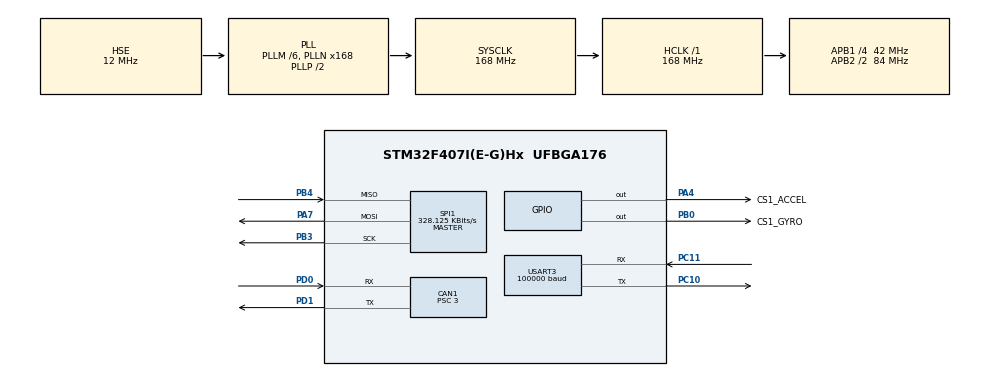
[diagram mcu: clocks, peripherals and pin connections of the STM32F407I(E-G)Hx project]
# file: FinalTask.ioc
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CAN1.BS1=CAN_BS1_11TQ
CAN1.BS2=CAN_BS2_2TQ
CAN1.CalculateBaudRate=1000000
CAN1.CalculateTimeBit=1000
CAN1.CalculateTimeQuantum=71.42857142857143
CAN1.Prescaler=3
Dma.Request0=USART3_RX
Dma.USART3_RX.0.Direction=DMA_PERIPH_TO_MEMORY
Dma.USART3_RX.0.FIFOMode=DMA_FIFOMODE_DISABLE
Dma.USART3_RX.0.Instance=DMA1_Stream1
Dma.USART3_RX.0.MemDataAlignment=DMA_MDATAALIGN_BYTE
Dma.USART3_RX.0.MemInc=DMA_MINC_ENABLE
Dma.USART3_RX.0.Mode=DMA_NORMAL
Dma.USART3_RX.0.PeriphDataAlignment=DMA_PDATAALIGN_BYTE
Dma.USART3_RX.0.PeriphInc=DMA_PINC_DISABLE
Dma.USART3_RX.0.Priority=DMA_PRIORITY_LOW
FREERTOS.Tasks01=defaultTask,24,128,StartDefaultTask,Default,NULL,Dynamic,NULL,NULL
FREERTOS.configENABLE_FPU=1
IWDG.Prescaler=IWDG_PRESCALER_16
IWDG.Reload=3000-1
Mcu.Family=STM32F4
Mcu.Name=STM32F407I(E-G)Hx
Mcu.Package=UFBGA176
NVIC.CAN1_RX0_IRQn=true\:5\:0\:false\:false\:true\:true\:true\:true\:true
NVIC.CAN1_RX1_IRQn=true\:5\:0\:false\:false\:true\:true\:true\:true\:true
NVIC.CAN1_TX_IRQn=true\:5\:0\:false\:false\:true\:true\:true\:true\:true
NVIC.DMA1_Stream1_IRQn=true\:5\:0\:false\:false\:true\:true\:false\:true\:true
NVIC.PriorityGroup=NVIC_PRIORITYGROUP_4
NVIC.RCC_IRQn=true\:5\:0\:false\:false\:true\:true\:true\:false\:true
NVIC.SPI1_IRQn=true\:5\:0\:false\:false\:true\:true\:true\:true\:true
NVIC.TIM6_DAC_IRQn=true\:15\:0\:false\:false\:true\:false\:false\:true\:true
NVIC.TIM7_IRQn=true\:5\:0\:false\:false\:true\:true\:true\:true\:true
NVIC.TimeBase=TIM6_DAC_IRQn
NVIC.TimeBaseIP=TIM6
NVIC.USART3_IRQn=true\:5\:0\:false\:false\:true\:true\:true\:true\:true
PA13.Mode=Serial_Wire
PA13.Signal=SYS_JTMS-SWDIO
PA14.Mode=Serial_Wire
PA14.Signal=SYS_JTCK-SWCLK
PA4.GPIO_Label=CS1_ACCEL
PA4.GPIO_PuPd=GPIO_PULLUP
PA4.GPIO_Speed=GPIO_SPEED_FREQ_HIGH
PA4.PinState=GPIO_PIN_SET
PA4.Signal=GPIO_Output
PA7.Mode=Full_Duplex_Master
PA7.Signal=SPI1_MOSI
PB0.GPIO_Label=CS1_GYRO
PB0.GPIO_ModeDefaultOutputPP=GPIO_MODE_OUTPUT_PP
PB0.GPIO_PuPd=GPIO_PULLUP
PB0.GPIO_Speed=GPIO_SPEED_FREQ_HIGH
PB0.PinState=GPIO_PIN_SET
PB0.Signal=GPIO_Output
PB3.Mode=Full_Duplex_Master
PB3.Signal=SPI1_SCK
PB4.Mode=Full_Duplex_Master
PB4.Signal=SPI1_MISO
PC10.Mode=Asynchronous
PC10.Signal=USART3_TX
PC11.Mode=Asynchronous
PC11.Signal=USART3_RX
PD0.Mode=CAN_Activate
PD0.Signal=CAN1_RX
PD1.Mode=CAN_Activate
PD1.Signal=CAN1_TX
PH0-OSC_IN.Mode=HSE-External-Oscillator
PH0-OSC_IN.Signal=RCC_OSC_IN
PH1-OSC_OUT.Mode=HSE-External-Oscillator
PH1-OSC_OUT.Signal=RCC_OSC_OUT
ProjectManager.HeapSize=0x200
ProjectManager.StackSize=0x400
ProjectManager.TargetToolchain=CMake
RCC.48MHZClocksFreq_Value=84000000
RCC.AHBFreq_Value=168000000
RCC.APB1CLKDivider=RCC_HCLK_DIV4
RCC.APB1Freq_Value=42000000
RCC.APB1TimFreq_Value=84000000
RCC.APB2CLKDivider=RCC_HCLK_DIV2
RCC.APB2Freq_Value=84000000
RCC.APB2TimFreq_Value=168000000
RCC.CortexFreq_Value=168000000
RCC.HCLKFreq_Value=168000000
RCC.HSE_VALUE=12000000
RCC.HSI_VALUE=16000000
RCC.LSE_VALUE=32768
RCC.PLLM=6
RCC.PLLN=168
RCC.PLLSourceVirtual=RCC_PLLSOURCE_HSE
RCC.SYSCLKFreq_VALUE=168000000
RCC.SYSCLKSource=RCC_SYSCLKSOURCE_PLLCLK
RCC.VCOOutputFreq_Value=336000000
SPI1.BaudRatePrescaler=SPI_BAUDRATEPRESCALER_256
SPI1.CLKPhase=SPI_PHASE_2EDGE
SPI1.CLKPolarity=SPI_POLARITY_HIGH
SPI1.CalculateBaudRate=328.125 KBits/s
SPI1.Direction=SPI_DIRECTION_2LINES
SPI1.Mode=SPI_MODE_MASTER
SPI1.VirtualType=VM_MASTER
TIM7.Period=1000-1
TIM7.Prescaler=168-1
USART3.BaudRate=100000
USART3.Parity=PARITY_EVEN
USART3.VirtualMode=VM_ASYNC
USART3.WordLength=WORDLENGTH_9B
VP_FREERTOS_VS_CMSIS_V2.Mode=CMSIS_V2
VP_IWDG_VS_IWDG.Mode=IWDG_Activate
VP_SYS_VS_tim6.Mode=TIM6
VP_TIM7_VS_ClockSourceINT.Mode=Enable_Timer
board=custom

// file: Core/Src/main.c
/* USER CODE BEGIN Header */
/**
  ******************************************************************************
  * @file           : main.c
  * @brief          : Main program body
  ******************************************************************************
  * @attention
  *
  * Copyright (c) 2025 STMicroelectronics.
  * All rights reserved.
  *
  * This software is licensed under terms that can be found in the LICENSE file
  * in the root directory of this software component.
  * If no LICENSE file comes with this software, it is provided AS-IS.
  *
  ******************************************************************************
  */
/* USER CODE END Header */
#include "main.h"
#include "cmsis_os.h"
#include "can.h"
#include "dma.h"
#include "iwdg.h"
#include "spi.h"
#include "tim.h"
#include "usart.h"
#include "gpio.h"

/* USER CODE BEGIN Includes */
// TODO: Delete unnecessary includes
#include "rtos.h"
#include "imu.h"
#include "rc.h"
/* USER CODE END Includes */

/* USER CODE BEGIN PV */
osThreadId_t control_task_handle;
osThreadId_t imu_task_handle;
osThreadId_t can_send_task_handle;
osThreadId_t can_recv_task_handle;
osThreadId_t iwdg_task_handle;
osThreadId_t rc_process_task_handle;

osThreadId_t can_rx_queue_handle;

osSemaphoreId_t rc_data_ready_semaphore_handle;
osSemaphoreId_t imu_data_ready_semaphore_handle;

osMutexId_t gimbal_mutex_handle;

// TODO: FIX the CAN filter configuration as needed
CAN_FilterTypeDef filter_config = {
    .FilterIdHigh = 0x0000,
    .FilterIdLow = 0x0000,
    .FilterMaskIdHigh = 0x0000,
    .FilterMaskIdLow = 0x0000,
    .FilterFIFOAssignment = CAN_FILTER_FIFO0,
    .FilterBank = 0,
    .FilterMode = CAN_FILTERMODE_IDMASK,
    .FilterScale = CAN_FILTERSCALE_32BIT,
    .FilterActivation = ENABLE
};
/* USER CODE END PV */

void SystemClock_Config(void);
void MX_FREERTOS_Init(void);

int main(void)
{

    /* MCU Configuration--------------------------------------------------------*/

    /* Reset of all peripherals, Initializes the Flash interface and the Systick. */
    HAL_Init();

    /* Configure the system clock */
    SystemClock_Config();

    /* Initialize all configured peripherals */
    MX_GPIO_Init();
    MX_DMA_Init();
    MX_SPI1_Init();
    MX_CAN1_Init();
    MX_TIM7_Init();
    MX_USART3_UART_Init();
    // MX_IWDG_Init();
    /* USER CODE BEGIN 2 */
    HAL_TIM_Base_Start_IT(&htim7);

    HAL_CAN_ConfigFilter(&hcan1, &filter_config);
    HAL_CAN_Start(&hcan1);
    HAL_CAN_ActivateNotification(&hcan1, CAN_IT_RX_FIFO0_MSG_PENDING);

    ImuInitWrapper();
    RcInitWrapper();

    /* USER CODE END 2 */

    /* Init scheduler */
    osKernelInitialize(); /* Call init function for freertos objects (in cmsis_os2.c) */
    MX_FREERTOS_Init();

    const osMutexAttr_t gimbal_mutex_attributes = {
        .name = "GimbalMutex"
    };
    gimbal_mutex_handle = osMutexNew(&gimbal_mutex_attributes);

    const osSemaphoreAttr_t rc_sem_attributes = {
        .name = "rcSem"
    };
    rc_data_ready_semaphore_handle = osSemaphoreNew(1, 0, &rc_sem_attributes);

    const osMessageQueueAttr_t can_rx_queue_attributes = {
        .name = "canRxQueue"
    };
    can_rx_queue_handle = osMessageQueueNew(16,
                                            sizeof(uint8_t[sizeof(CAN_RxHeaderTypeDef) + 8]),
                                            &can_rx_queue_attributes);

    const osThreadAttr_t imu_task_attributes = {
        .name = "imuTask",
        .stack_size = 1024 * 4,
        .priority = osPriorityHigh
    };
    imu_task_handle = osThreadNew(VImuTask, NULL, &imu_task_attributes);

    const osThreadAttr_t control_task_attributes = {
        .name = "controlTask",
        .stack_size = 1024 * 4,
        .priority = osPriorityAboveNormal
    };
    control_task_handle = osThreadNew(VControlTask, NULL, &control_task_attributes);

    const osThreadAttr_t can_send_task_attributes = {
        .name = "canSendTask",
        .stack_size = 512,
        .priority = osPriorityNormal
    };
    can_send_task_handle = osThreadNew(VCanSendTask, NULL, &can_send_task_attributes);

    const osThreadAttr_t can_recv_task_attributes = {
        .name = "canRecvTask",
        .stack_size = 512,
        .priority = osPriorityNormal
    };
    can_recv_task_handle = osThreadNew(VCanRecvTask, NULL, &can_recv_task_attributes);

    const osThreadAttr_t rc_process_task_attributes = {
        .name = "rcProcessTask",
        .stack_size = 1024 * 4,
        .priority = osPriorityNormal
    };
    rc_process_task_handle = osThreadNew(VRcProcessTask, NULL, &rc_process_task_attributes);

    const osThreadAttr_t iwdg_task_attributes = {
        .name = "iwdgTask",
        .stack_size = 1024,
        .priority = osPriorityLow
    };
    iwdg_task_handle = osThreadNew(VIwdgTask, NULL, &iwdg_task_attributes);
    /* Start scheduler */
    osKernelStart();

    /* We should never get here as control is now taken by the scheduler */

    /* Infinite loop */
    while (1)
    {

    }
}

void SystemClock_Config(void)
{
    RCC_OscInitTypeDef RCC_OscInitStruct = { 0 };
    RCC_ClkInitTypeDef RCC_ClkInitStruct = { 0 };

    /** Configure the main internal regulator output voltage
    */
    __HAL_RCC_PWR_CLK_ENABLE();
    __HAL_PWR_VOLTAGESCALING_CONFIG(PWR_REGULATOR_VOLTAGE_SCALE1);

    /** Initializes the RCC Oscillators according to the specified parameters
    * in the RCC_OscInitTypeDef structure.
    */
    RCC_OscInitStruct.OscillatorType = RCC_OSCILLATORTYPE_LSI | RCC_OSCILLATORTYPE_HSE;
    RCC_OscInitStruct.HSEState = RCC_HSE_ON;
    RCC_OscInitStruct.LSIState = RCC_LSI_ON;
    RCC_OscInitStruct.PLL.PLLState = RCC_PLL_ON;
    RCC_OscInitStruct.PLL.PLLSource = RCC_PLLSOURCE_HSE;
    RCC_OscInitStruct.PLL.PLLM = 6;
    RCC_OscInitStruct.PLL.PLLN = 168;
    RCC_OscInitStruct.PLL.PLLP = RCC_PLLP_DIV2;
    RCC_OscInitStruct.PLL.PLLQ = 4;
    if (HAL_RCC_OscConfig(&RCC_OscInitStruct) != HAL_OK)
    {
        Error_Handler();
    }

    /** Initializes the CPU, AHB and APB buses clocks
    */
    RCC_ClkInitStruct.ClockType = RCC_CLOCKTYPE_HCLK | RCC_CLOCKTYPE_SYSCLK
        | RCC_CLOCKTYPE_PCLK1 | RCC_CLOCKTYPE_PCLK2;
    RCC_ClkInitStruct.SYSCLKSource = RCC_SYSCLKSOURCE_PLLCLK;
    RCC_ClkInitStruct.AHBCLKDivider = RCC_SYSCLK_DIV1;
    RCC_ClkInitStruct.APB1CLKDivider = RCC_HCLK_DIV4;
    RCC_ClkInitStruct.APB2CLKDivider = RCC_HCLK_DIV2;

    if (HAL_RCC_ClockConfig(&RCC_ClkInitStruct, FLASH_LATENCY_5) != HAL_OK)
    {
        Error_Handler();
    }
}

// void HAL_TIM_PeriodElapsedCallback(TIM_HandleTypeDef *htim)
// {
//   /* USER CODE BEGIN Callback 0 */
// //
//   /* USER CODE END Callback 0 */
//   if (htim->Instance == TIM6)
//   {
//     HAL_IncTick();
//   }
//   /* USER CODE BEGIN Callback 1 */
// //
//   /* USER CODE END Callback 1 */
// }

void Error_Handler(void)
{
    __disable_irq();
    while (1) {}
}
